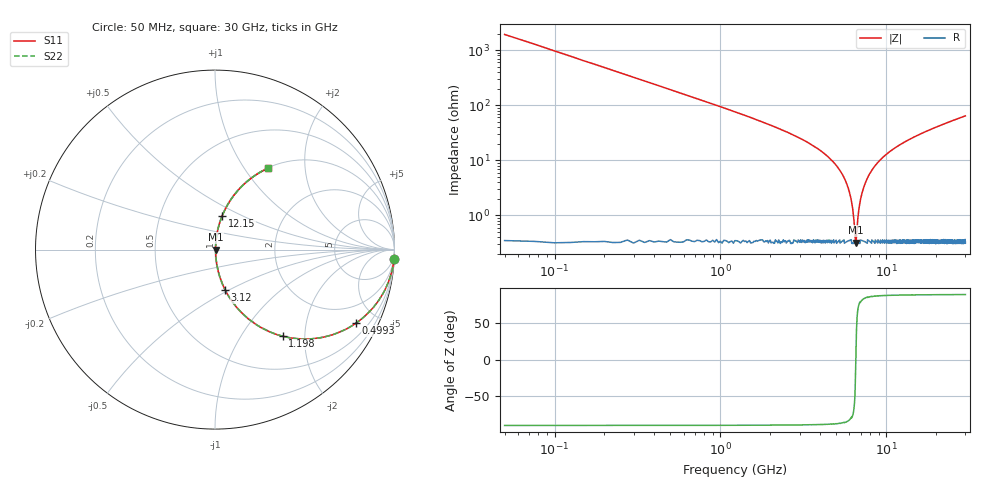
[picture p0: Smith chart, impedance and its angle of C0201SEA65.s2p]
!	AVX Thin Film Operation 	Date: April 2014
!	Description: Accu-P® Series, Thin Film  SMD RF Capacitor
!	Part Number: 02015JA65PBSTR
# MHZ S MA R 50
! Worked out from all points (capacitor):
!   1201 points, 50 MHz to 30 GHz, reference 50 ohm
!   read as one part in series: C = 1.65 pF near 199.8 MHz
!   lowest |Z| = 323 mohm at 6.564 GHz (marker M1)
!   series resonance near 6.553 GHz, so ESL is about 360 pH
!   S11 on the Smith chart (normalised r, x): 50 MHz: 1, -39; 499.2 MHz: 1.01, -3.84; 1.198 GHz: 1.01, -1.56; 3.12 GHz: 1.01, -0.48; 12.15 GHz: 1.01, +0.39; 30 GHz: 1.01, +1.28
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50  0.999 -3.0  0.052 87.0  0.052 87.0  0.999 -3.0
274.625  0.961 -15.9  0.274 74.0  0.274 74.0  0.961 -15.9
499.25  0.886 -27.5  0.461 62.4  0.461 62.4  0.886 -27.5
1198.083  0.613 -52.0  0.788 37.8  0.788 37.8  0.613 -52.0
1971.792  0.405 -65.7  0.911 23.9  0.911 23.9  0.405 -65.7
3119.875  0.232 -75.8  0.969 13.4  0.969 13.4  0.232 -75.8
5041.667  0.078 -83.1  0.994 4.4  0.994 4.4  0.078 -83.1
5965.125  0.028 -81.5  0.996 1.6  0.996 1.6  0.028 -81.5
6214.708  0.016 -76.9  0.997 0.9  0.997 0.9  0.016 -76.9
6464.292  0.005219 -49.7  0.997 0.2  0.997 0.2  0.005219 -49.7
6564.125  0.003396 8.5  0.997 -0.0  0.997 -0.0  0.003396 8.5
6639  0.005094 48.5  0.997 -0.2  0.997 -0.2  0.005094 48.5
6838.667  0.013 74.3  0.997 -0.7  0.997 -0.7  0.013 74.3
7013.375  0.02 79.3  0.996 -1.1  0.996 -1.1  0.02 79.3
7587.417  0.043 83.1  0.996 -2.5  0.996 -2.5  0.043 83.1
8535.833  0.078 83.1  0.994 -4.5  0.994 -4.5  0.078 83.1
10058.29  0.129 81.1  0.988 -7.4  0.988 -7.4  0.129 81.1
12154.79  0.19 78.1  0.979 -10.9  0.979 -10.9  0.19 78.1
15025  0.263 74.1  0.962 -15.2  0.962 -15.2  0.263 74.1
20016.67  0.371 67.7  0.925 -21.8  0.925 -21.8  0.371 67.7
25033.29  0.463 62.1  0.883 -27.6  0.883 -27.6  0.463 62.1
30000  0.539 57.1  0.84 -32.6  0.84 -32.6  0.539 57.1
